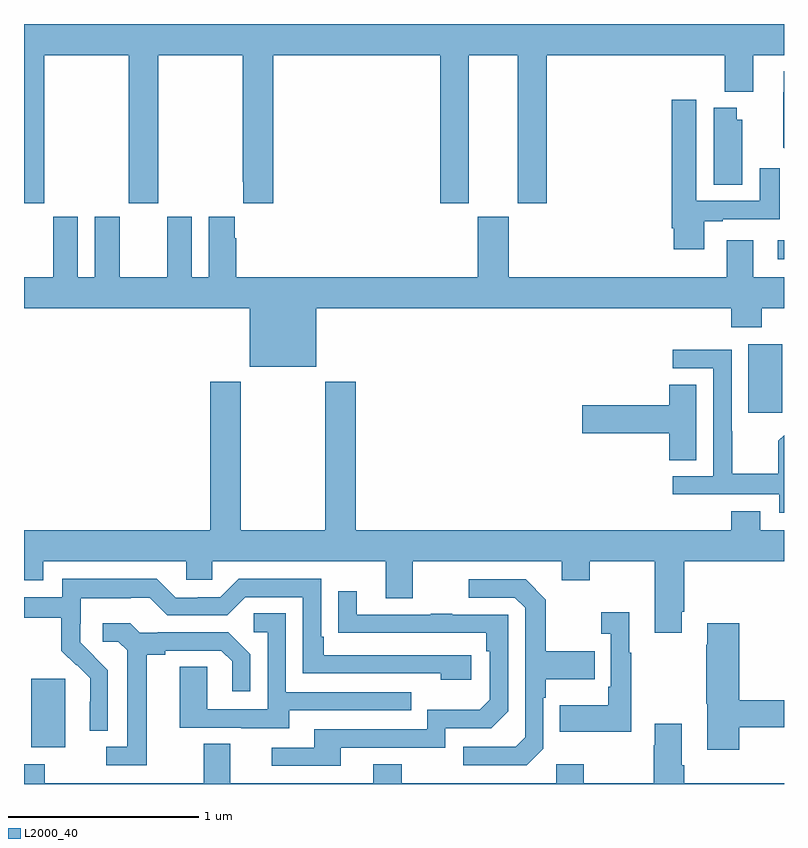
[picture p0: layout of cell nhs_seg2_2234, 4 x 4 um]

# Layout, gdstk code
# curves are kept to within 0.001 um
import gdstk
lib = gdstk.Library(unit=1e-6, precision=1e-09)
def R(c, l, rs):  # rectangles x0, y0, x1, y1
    for r in rs: c.add(gdstk.rectangle(r[:2], r[2:], *l))
def P(c, l, *ps):  # polygons
    for p in ps: c.add(gdstk.Polygon(p, *l))
L2000_40 = (2000, 40)

nhs_seg2_2234 = lib.new_cell('nhs_seg2_2234')
R(nhs_seg2_2234, L2000_40, [(227.039,643.994,227.218,644.355), (230.813,645.753,230.992,646.114), (230.967,646.562,231,646.663)])
P(nhs_seg2_2234, L2000_40, [(227.106,647.636),(227.551,647.636),(227.551,646.857),(227.706,646.857),(227.706,647.636),(228.151,647.636),(228.151,646.969),(228.155,646.969),(228.155,646.857),(228.311,646.857),(228.311,647.636),(229.19,647.636),(229.19,646.857),(229.342,646.857),(229.342,647.636),(229.598,647.636),(229.598,646.857),(229.751,646.857),(229.751,647.636),(230.687,647.636),(230.687,647.444),(230.839,647.444),(230.839,647.636),(231,647.636),(231,647.8),(227,647.8),(227,646.857),(227.106,646.857)],
  [(231,647.551),(230.999,647.551),(230.999,647.441),(230.995,647.441),(230.995,647.15),(231,647.145)],
  [(230.581,646.761),(230.677,646.761),(230.677,646.773),(230.977,646.773),(230.977,647.041),(230.873,647.041),(230.873,646.869),(230.539,646.869),(230.539,647.401),(230.408,647.401),(230.408,646.726),(230.42,646.726),(230.42,646.614),(230.581,646.614)],
  [(230.779,647.295),(230.752,647.295),(230.752,647.359),(230.63,647.359),(230.63,646.954),(230.779,646.954)],
  [(228.538,646.304),(230.723,646.304),(230.723,646.205),(230.883,646.205),(230.883,646.304),(231,646.304),(231,646.468),(230.839,646.468),(230.839,646.663),(230.699,646.663),(230.699,646.468),(229.552,646.468),(229.552,646.785),(229.388,646.785),(229.388,646.468),(228.116,646.468),(228.116,646.673),(228.109,646.673),(228.109,646.786),(227.972,646.786),(227.972,646.468),(227.884,646.468),(227.884,646.786),(227.753,646.786),(227.753,646.468),(227.503,646.468),(227.503,646.786),(227.372,646.786),(227.372,646.468),(227.284,646.468),(227.284,646.786),(227.153,646.786),(227.153,646.468),(227,646.468),(227,646.304),(228.188,646.304),(228.188,645.995),(228.538,645.995)],
  [(231,645.636),(230.971,645.607),(230.971,645.433),(230.727,645.433),(230.727,645.656),(230.724,645.656),(230.724,646.086),(230.415,646.086),(230.415,645.987),(230.628,645.987),(230.628,645.42),(230.415,645.42),(230.415,645.324),(230.976,645.324),(230.976,645.227),(231,645.227)],
  [(230.461,644.707),(230.474,644.707),(230.474,644.972),(231,644.972),(231,645.136),(230.875,645.136),(230.875,645.235),(230.723,645.235),(230.723,645.136),(228.746,645.136),(228.746,645.916),(228.586,645.916),(228.586,645.136),(228.141,645.136),(228.141,645.916),(227.981,645.916),(227.981,645.136),(227,645.136),(227,644.873),(227.101,644.873),(227.101,644.972),(227.853,644.972),(227.853,644.874),(227.991,644.874),(227.991,644.972),(228.905,644.972),(228.905,644.778),(229.045,644.778),(229.045,644.972),(229.829,644.972),(229.829,644.873),(229.977,644.873),(229.977,644.972),(230.321,644.972),(230.321,644.595),(230.461,644.595)],
  [(230.539,645.902),(230.396,645.902),(230.396,645.794),(229.938,645.794),(229.938,645.647),(230.396,645.647),(230.396,645.505),(230.539,645.505)],
  [(227.442,644.398),(227.296,644.546),(227.296,644.643),(227.298,644.643),(227.298,644.777),(227.561,644.777),(227.561,644.781),(227.661,644.781),(227.754,644.688),(228.069,644.688),(228.165,644.784),(228.468,644.784),(228.468,644.382),(229.193,644.382),(229.193,644.348),(229.354,644.348),(229.354,644.478),(228.577,644.478),(228.577,644.575),(228.564,644.575),(228.564,644.88),(228.129,644.88),(228.033,644.784),(227.915,644.784),(227.915,644.781),(227.799,644.781),(227.699,644.881),(227.202,644.881),(227.202,644.784),(227,644.784),(227,644.676),(227.197,644.676),(227.197,644.501),(227.274,644.424),(227.277,644.427),(227.348,644.357),(227.348,644.234),(227.346,644.234),(227.346,644.08),(227.442,644.08)],
  [(229.734,643.986),(229.734,644.255),(229.747,644.255),(229.747,644.351),(230.003,644.351),(230.003,644.499),(229.747,644.499),(229.747,644.771),(229.641,644.877),(229.341,644.877),(229.341,644.781),(229.584,644.781),(229.638,644.727),(229.638,644.046),(229.587,643.995),(229.311,643.995),(229.311,643.899),(229.647,643.899)],
  [(228.667,643.992),(229.218,643.992),(229.218,644.094),(229.458,644.094),(229.548,644.184),(229.548,644.691),(229.253,644.691),(229.253,644.696),(229.141,644.696),(229.141,644.691),(228.751,644.691),(228.751,644.815),(228.655,644.815),(228.655,644.596),(229.432,644.595),(229.432,644.498),(229.452,644.498),(229.452,644.244),(229.399,644.191),(229.122,644.191),(229.122,644.088),(228.527,644.088),(228.527,643.992),(228.303,643.992),(228.303,643.896),(228.667,643.896)],
  [(230.197,644.491),(230.185,644.491),(230.185,644.704),(230.037,644.704),(230.037,644.591),(230.088,644.591),(230.088,644.311),(230.076,644.311),(230.076,644.215),(229.819,644.215),(229.819,644.075),(230.197,644.075)],
  [(228.397,644.187),(229.037,644.187),(229.037,644.283),(228.378,644.283),(228.378,644.699),(228.21,644.699),(228.21,644.598),(228.282,644.598),(228.282,644.193),(227.964,644.193),(227.964,644.417),(227.819,644.417),(227.819,644.097),(228.143,644.097),(228.143,644.093),(228.397,644.093)],
  [(230.765,644.098),(231,644.098),(231,644.24),(230.765,644.24),(230.765,644.647),(230.597,644.647),(230.597,644.534),(230.59,644.534),(230.59,644.223),(230.597,644.223),(230.597,643.98),(230.765,643.98)],
  [(227.647,644.48),(227.743,644.48),(227.743,644.502),(228.038,644.502),(228.095,644.445),(228.095,644.289),(228.192,644.289),(228.192,644.482),(228.076,644.598),(227.704,644.598),(227.704,644.595),(227.61,644.595),(227.558,644.647),(227.415,644.647),(227.415,644.55),(227.496,644.55),(227.543,644.503),(227.543,643.995),(227.433,643.995),(227.433,643.899),(227.647,643.899)],
  [(231,643.804),(230.474,643.804),(230.474,643.9),(230.461,643.9),(230.461,644.116),(230.321,644.116),(230.321,644.003),(230.314,644.003),(230.314,643.804),(229.947,643.804),(229.947,643.903),(229.8,643.903),(229.8,643.804),(228.987,643.804),(228.987,643.903),(228.839,643.903),(228.839,643.804),(228.085,643.804),(228.085,644.012),(227.945,644.012),(227.945,643.804),(227.109,643.804),(227.109,643.903),(227,643.903),(227,643.8),(231,643.8)])

lib.write_gds('nhs_seg2_2234.gds')
